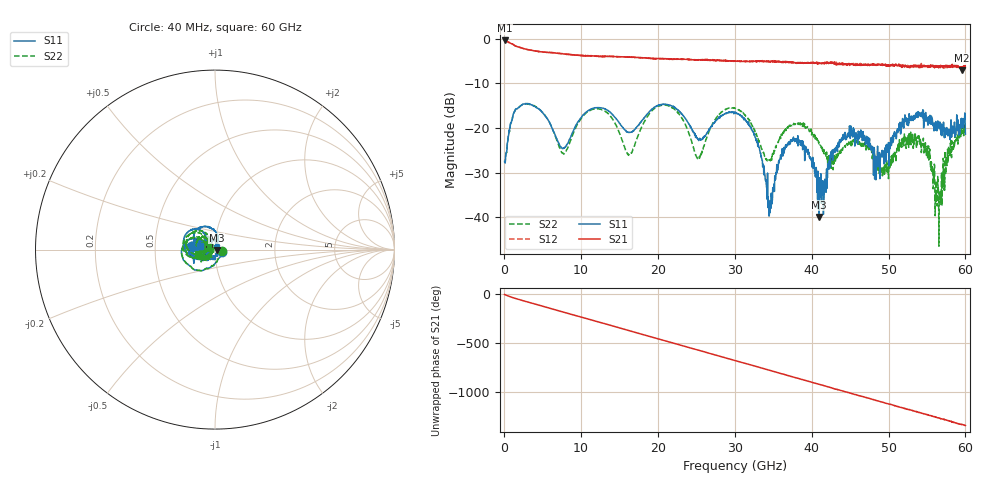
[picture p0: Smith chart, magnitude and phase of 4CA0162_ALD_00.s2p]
! File created by 'SoftPlot +Plus+ Measurement Management Software'
! SoftPlot +Plus+ Measurement Management Software
! Start 40.000000 MHz  Stop 60.000000 GHz  Points 1601
# MHZ S RI R 50
! S-Parameter data, F S11 S21 S12 S22
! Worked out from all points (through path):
!   1601 points, 40 MHz to 60 GHz, reference 50 ohm
!   highest |S21| = -0.37 dB at 40 MHz (marker M1); lowest = -7.1 dB at 59.55 GHz (marker M2)
!   group delay of S21, straight-line fit = 61.5 ps
!   lowest |S11| = -40.0 dB at 40.93 GHz (marker M3), VSWR 1.02, Z = 51 - j0.206 ohm
!   |S11| at or under -10 dB: start of sweep to end of sweep
!   |S22| runs from -46.5 to -14.6 dB; largest |S21 - S12| = 0.056
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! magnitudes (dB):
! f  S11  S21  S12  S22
! 40 MHz  -27.5  -0.4  -0.4  -27.9
! 2.251 GHz  -14.9  -2.0  -2.0  -14.9
! 7.685 GHz  -24.6  -3.4  -3.4  -25.7
! 10.05 GHz  -17.6  -3.8  -3.8  -17.8
! 13.27 GHz  -15.9  -4.0  -3.9  -16.4
! 16.3 GHz  -21.0  -4.1  -4.1  -26.1
! 20.05 GHz  -14.9  -4.4  -4.4  -15.1
! 22.79 GHz  -16.2  -4.6  -4.6  -17.0
! 25.26 GHz  -22.6  -4.7  -4.8  -26.9
! 30.02 GHz  -16.5  -5.0  -5.0  -15.6
! 32.83 GHz  -23.0  -5.2  -5.0  -21.7
! 34.59 GHz  -37.4  -5.2  -5.0  -27.1
! 36.84 GHz  -23.6  -5.3  -5.2  -20.1
! 40.03 GHz  -28.8  -5.3  -5.3  -21.0
! 40.93 GHz  -40.0  -5.6  -5.5  -23.2
! 42.5 GHz  -25.4  -5.3  -5.2  -28.3
! 44.97 GHz  -20.3  -5.7  -5.8  -23.3
! 50.03 GHz  -24.4  -6.1  -5.9  -26.5
! 53.67 GHz  -17.6  -6.3  -6.1  -22.7
! 56.55 GHz  -20.0  -6.1  -6.2  -46.5
! 59.55 GHz  -17.9  -7.1  -6.5  -20.2
! 60 GHz  -21.4  -6.4  -6.7  -20.3
